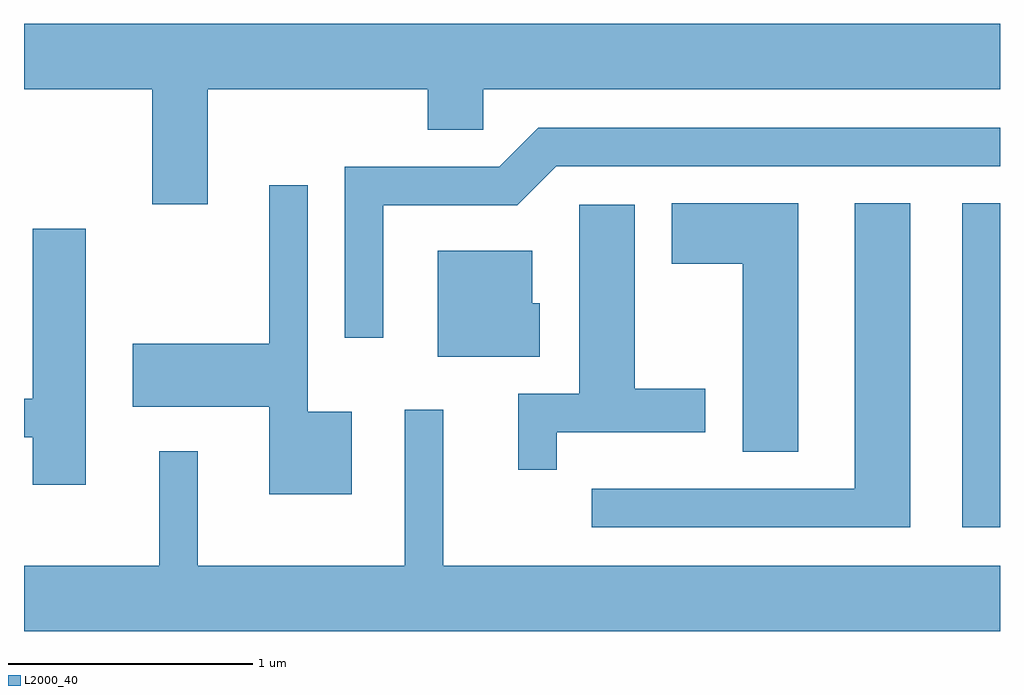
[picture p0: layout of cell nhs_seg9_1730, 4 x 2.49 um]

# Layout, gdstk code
import gdstk
lib = gdstk.Library(unit=1e-6, precision=1e-09)
def R(c, l, rs):  # rectangles x0, y0, x1, y1
    for r in rs: c.add(gdstk.rectangle(r[:2], r[2:], *l))
def P(c, l, *ps):  # polygons
    for p in ps: c.add(gdstk.Polygon(p, *l))
L2000_40 = (2000, 40)

nhs_seg9_1730 = lib.new_cell('nhs_seg9_1730')
R(nhs_seg9_1730, L2000_40, [(239.456,2005.561,239.611,2006.889)])
P(nhs_seg9_1730, L2000_40, [(236.364,2007.356),(237.266,2007.356),(237.266,2007.191),(237.494,2007.191),(237.494,2007.356),(239.611,2007.356),(239.611,2007.624),(235.611,2007.624),(235.611,2007.356),(236.136,2007.356),(236.136,2006.886),(236.364,2006.886)],
  [(237.084,2006.881),(237.632,2006.881),(237.792,2007.041),(239.611,2007.041),(239.611,2007.199),(237.719,2007.199),(237.559,2007.039),(236.926,2007.039),(236.926,2006.338),(237.084,2006.338)],
  [(236.954,2006.034),(236.774,2006.034),(236.774,2006.963),(236.616,2006.963),(236.616,2006.314),(236.056,2006.314),(236.056,2006.056),(236.616,2006.056),(236.616,2005.696),(236.954,2005.696)],
  [(238.784,2006.889),(238.266,2006.889),(238.266,2006.641),(238.556,2006.641),(238.556,2005.871),(238.784,2005.871)],
  [(239.244,2006.889),(239.016,2006.889),(239.016,2005.719),(237.938,2005.719),(237.938,2005.561),(239.244,2005.561)],
  [(237.794,2005.951),(238.404,2005.951),(238.404,2006.129),(238.114,2006.129),(238.114,2006.884),(237.886,2006.884),(237.886,2006.109),(237.636,2006.109),(237.636,2005.798),(237.794,2005.798)],
  [(235.864,2006.784),(235.646,2006.784),(235.646,2006.089),(235.611,2006.089),(235.611,2005.931),(235.646,2005.931),(235.646,2005.736),(235.864,2005.736)],
  [(237.724,2006.479),(237.694,2006.479),(237.694,2006.694),(237.306,2006.694),(237.306,2006.261),(237.724,2006.261)],
  [(239.611,2005.404),(237.329,2005.404),(237.329,2006.043),(237.171,2006.043),(237.171,2005.404),(236.324,2005.404),(236.324,2005.873),(236.166,2005.873),(236.166,2005.404),(235.611,2005.404),(235.611,2005.136),(239.611,2005.136)])

lib.write_gds('nhs_seg9_1730.gds')
